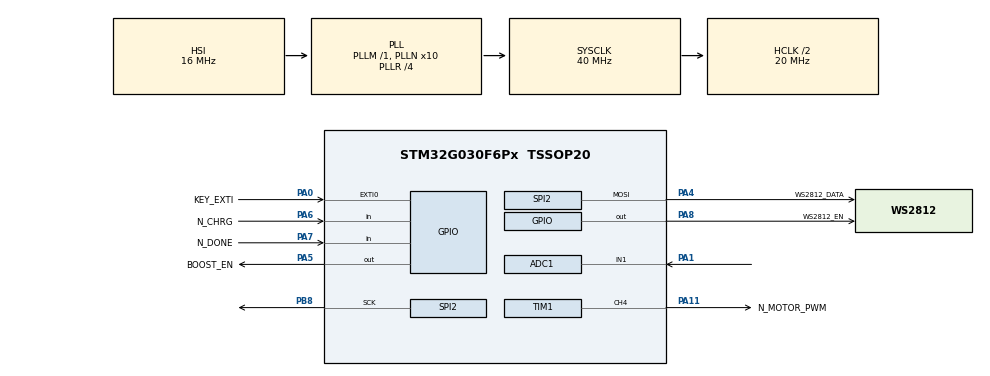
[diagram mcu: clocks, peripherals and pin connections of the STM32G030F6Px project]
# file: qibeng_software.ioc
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ADC1.Channel-0\#ChannelRegularConversion=ADC_CHANNEL_1
ADC1.Channel-1\#ChannelRegularConversion=ADC_CHANNEL_VREFINT
ADC1.ContinuousConvMode=ENABLE
ADC1.DMAContinuousRequests=ENABLE
ADC1.EOCSelection=ADC_EOC_SINGLE_CONV
ADC1.NbrOfConversion=2
ADC1.NbrOfConversionFlag=1
ADC1.Rank-0\#ChannelRegularConversion=1
ADC1.Rank-1\#ChannelRegularConversion=2
ADC1.SamplingTime-0\#ChannelRegularConversion=ADC_SAMPLINGTIME_COMMON_1
ADC1.SamplingTime-1\#ChannelRegularConversion=ADC_SAMPLINGTIME_COMMON_2
ADC1.SamplingTimeCommon1=ADC_SAMPLETIME_160CYCLES_5
ADC1.SamplingTimeCommon2=ADC_SAMPLETIME_160CYCLES_5
ADC1.SelectedChannel=ADC_CHANNEL_1|ADC_CHANNEL_VREFINT
ADC1.master=1
Dma.ADC1.0.Direction=DMA_PERIPH_TO_MEMORY
Dma.ADC1.0.EventEnable=DISABLE
Dma.ADC1.0.Instance=DMA1_Channel1
Dma.ADC1.0.MemDataAlignment=DMA_MDATAALIGN_HALFWORD
Dma.ADC1.0.MemInc=DMA_MINC_ENABLE
Dma.ADC1.0.Mode=DMA_CIRCULAR
Dma.ADC1.0.PeriphDataAlignment=DMA_PDATAALIGN_HALFWORD
Dma.ADC1.0.PeriphInc=DMA_PINC_DISABLE
Dma.ADC1.0.Polarity=HAL_DMAMUX_REQ_GEN_RISING
Dma.ADC1.0.Priority=DMA_PRIORITY_LOW
Dma.ADC1.0.RequestNumber=1
Dma.ADC1.0.SignalID=NONE
Dma.ADC1.0.SyncEnable=DISABLE
Dma.ADC1.0.SyncPolarity=HAL_DMAMUX_SYNC_NO_EVENT
Dma.ADC1.0.SyncRequestNumber=1
Dma.ADC1.0.SyncSignalID=NONE
Dma.Request0=ADC1
Mcu.Family=STM32G0
Mcu.Name=STM32G030F6Px
Mcu.Package=TSSOP20
NVIC.DMA1_Channel1_IRQn=true\:1\:0\:false\:false\:true\:false\:true\:true
NVIC.EXTI0_1_IRQn=true\:0\:0\:false\:false\:true\:true\:true\:true
PA0.GPIO_Label=KEY_EXTI
PA0.GPIO_PuPd=GPIO_NOPULL
PA0.Signal=GPXTI0
PA1.Mode=IN1
PA1.Signal=ADC1_IN1
PA11\ [PA9].GPIO_Label=N_MOTOR_PWM
PA11\ [PA9].Signal=S_TIM1_CH4
PA13.Mode=Serial_Wire
PA13.Signal=SYS_SWDIO
PA14-BOOT0.Mode=Serial_Wire
PA14-BOOT0.Signal=SYS_SWCLK
PA14-BOOT0__PA15.StandardMode=true
PA4.GPIO_Label=WS2812_DATA
PA4.GPIO_Speed=GPIO_SPEED_FREQ_HIGH
PA4.Mode=TX_Only_Simplex_Unidirect_Master
PA4.Signal=SPI2_MOSI
PA5.GPIO_Label=BOOST_EN
PA5.Signal=GPIO_Output
PA6.GPIO_Label=N_CHRG
PA6.GPIO_PuPd=GPIO_PULLUP
PA6.Signal=GPIO_Input
PA7.GPIO_Label=N_DONE
PA7.GPIO_PuPd=GPIO_PULLUP
PA7.Signal=GPIO_Input
PA8.GPIO_Label=WS2812_EN
PA8.Signal=GPIO_Output
PB0__PB1__PB2__PA8.StandardMode=true
PB3__PB4__PB5__PB6.StandardMode=true
PB7__PB8.StandardMode=true
PB8.Mode=TX_Only_Simplex_Unidirect_Master
PB8.Signal=SPI2_SCK
PC14-OSC32_IN\ (PC14)__PB9.StandardMode=true
ProjectManager.HeapSize=0x200
ProjectManager.StackSize=0x400
ProjectManager.TargetToolchain=MDK-ARM V5.32
RCC.ADCFreq_Value=40000000
RCC.AHBCLKDivider=RCC_SYSCLK_DIV2
RCC.AHBFreq_Value=20000000
RCC.CortexFreq_Value=20000000
RCC.EXTERNAL_CLOCK_VALUE=12288000
RCC.HCLKFreq_Value=20000000
RCC.HSE_VALUE=8000000
RCC.HSI_VALUE=16000000
RCC.LSE_VALUE=32768
RCC.PLLN=10
RCC.PLLR=RCC_PLLR_DIV4
RCC.SYSCLKFreq_VALUE=40000000
RCC.SYSCLKSource=RCC_SYSCLKSOURCE_PLLCLK
RCC.VCOOutputFreq_Value=160000000
SH.S_TIM1_CH4.0=TIM1_CH4,PWM Generation4 CH4
SPI2.BaudRatePrescaler=SPI_BAUDRATEPRESCALER_2
SPI2.CalculateBaudRate=10.0 MBits/s
SPI2.DataSize=SPI_DATASIZE_8BIT
SPI2.Direction=SPI_DIRECTION_2LINES
SPI2.Mode=SPI_MODE_MASTER
SPI2.NSSPMode=SPI_NSS_PULSE_DISABLE
SPI2.VirtualType=VM_MASTER
TIM1.AutoReloadPreload=TIM_AUTORELOAD_PRELOAD_ENABLE
TIM1.Channel-PWM\ Generation4\ CH4=TIM_CHANNEL_4
TIM1.Period=999
VP_ADC1_Vref_Input.Mode=IN-Vrefint
board=custom

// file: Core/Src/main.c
/* USER CODE BEGIN Header */
/**
 ******************************************************************************
 * @file           : main.c
 * @brief          : Main program body
 ******************************************************************************
 * @attention
 *
 * Copyright (c) 2026 STMicroelectronics.
 * All rights reserved.
 *
 * This software is licensed under terms that can be found in the LICENSE file
 * in the root directory of this software component.
 * If no LICENSE file comes with this software, it is provided AS-IS.
 *
 ******************************************************************************
 */
/* USER CODE END Header */
#include "main.h"
#include "adc.h"
#include "dma.h"
#include "spi.h"
#include "tim.h"
#include "gpio.h"

/* USER CODE BEGIN Includes */
#include "app.h"
#include "test.h"
/* USER CODE END Includes */

void SystemClock_Config(void);

int main(void)
{

  /* MCU Configuration--------------------------------------------------------*/

  /* Reset of all peripherals, Initializes the Flash interface and the Systick. */
  HAL_Init();

  /* Configure the system clock */
  SystemClock_Config();

  /* Initialize all configured peripherals */
  MX_GPIO_Init();
  MX_DMA_Init();
  MX_ADC1_Init();
  MX_SPI2_Init();
  MX_TIM1_Init();
  /* USER CODE BEGIN 2 */
#if defined(TEST_WS2812)
  test_ws2812_init();   /* WS2812 color-cycle unit test */
#elif defined(TEST_WS2812_RED_ONLY)
  test_ws2812_red_init(); /* WS2812 red-channel isolation diagnostic */
#elif defined(TEST_MOTOR)
  test_motor_init();    /* motor speed-cycle unit test */
#else
  app_init();           /* normal application */
#endif
  /* USER CODE END 2 */

  /* Infinite loop */
  while (1)
  {

    /* USER CODE BEGIN 3 */
#if defined(TEST_WS2812)
    test_ws2812_process();
#elif defined(TEST_WS2812_RED_ONLY)
    test_ws2812_red_process();
#elif defined(TEST_MOTOR)
    test_motor_process();
#else
    app_process();
#endif
  }
  /* USER CODE END 3 */
}

void SystemClock_Config(void)
{
  RCC_OscInitTypeDef RCC_OscInitStruct = {0};
  RCC_ClkInitTypeDef RCC_ClkInitStruct = {0};

  /** Configure the main internal regulator output voltage
  */
  HAL_PWREx_ControlVoltageScaling(PWR_REGULATOR_VOLTAGE_SCALE1);

  /** Initializes the RCC Oscillators according to the specified parameters
  * in the RCC_OscInitTypeDef structure.
  */
  RCC_OscInitStruct.OscillatorType = RCC_OSCILLATORTYPE_HSI;
  RCC_OscInitStruct.HSIState = RCC_HSI_ON;
  RCC_OscInitStruct.HSIDiv = RCC_HSI_DIV1;
  RCC_OscInitStruct.HSICalibrationValue = RCC_HSICALIBRATION_DEFAULT;
  RCC_OscInitStruct.PLL.PLLState = RCC_PLL_ON;
  RCC_OscInitStruct.PLL.PLLSource = RCC_PLLSOURCE_HSI;
  RCC_OscInitStruct.PLL.PLLM = RCC_PLLM_DIV1;
  RCC_OscInitStruct.PLL.PLLN = 10;
  RCC_OscInitStruct.PLL.PLLP = RCC_PLLP_DIV2;
  RCC_OscInitStruct.PLL.PLLR = RCC_PLLR_DIV4;
  if (HAL_RCC_OscConfig(&RCC_OscInitStruct) != HAL_OK)
  {
    Error_Handler();
  }

  /** Initializes the CPU, AHB and APB buses clocks
  */
  RCC_ClkInitStruct.ClockType = RCC_CLOCKTYPE_HCLK|RCC_CLOCKTYPE_SYSCLK
                              |RCC_CLOCKTYPE_PCLK1;
  RCC_ClkInitStruct.SYSCLKSource = RCC_SYSCLKSOURCE_PLLCLK;
  RCC_ClkInitStruct.AHBCLKDivider = RCC_SYSCLK_DIV2;
  RCC_ClkInitStruct.APB1CLKDivider = RCC_HCLK_DIV1;

  if (HAL_RCC_ClockConfig(&RCC_ClkInitStruct, FLASH_LATENCY_0) != HAL_OK)
  {
    Error_Handler();
  }
}

void Error_Handler(void)
{
  __disable_irq();
  while (1)
  {
  }
}
